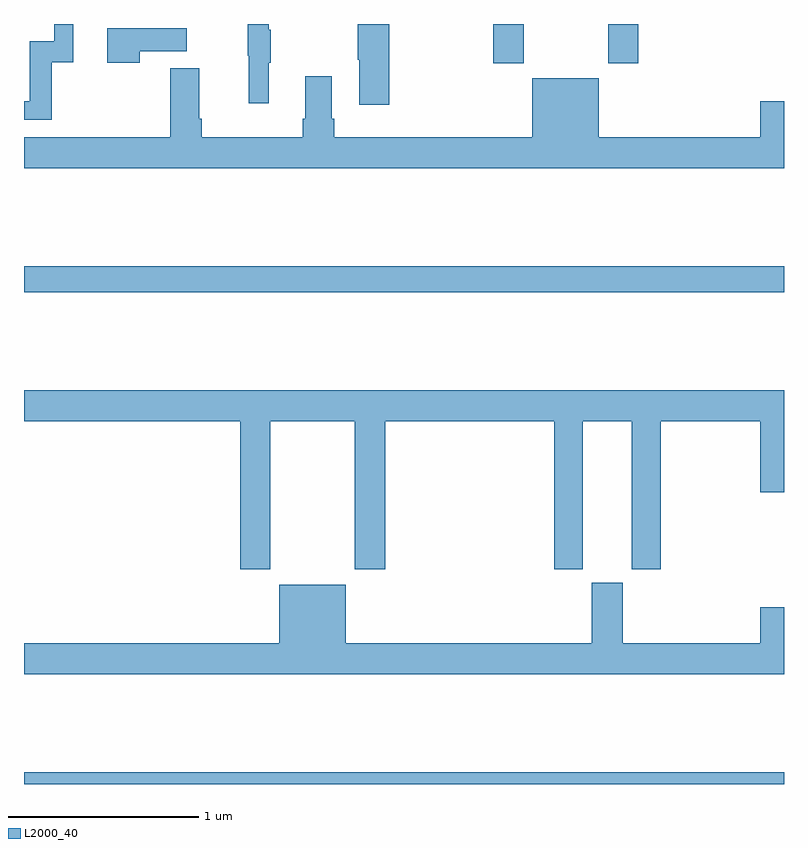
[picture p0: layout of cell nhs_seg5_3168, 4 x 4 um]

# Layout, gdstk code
import gdstk
lib = gdstk.Library(unit=1e-6, precision=1e-09)
def R(c, l, rs):  # rectangles x0, y0, x1, y1
    for r in rs: c.add(gdstk.rectangle(r[:2], r[2:], *l))
def P(c, l, *ps):  # polygons
    for p in ps: c.add(gdstk.Polygon(p, *l))
L2000_40 = (2000, 40)

nhs_seg5_3168 = lib.new_cell('nhs_seg5_3168')
R(nhs_seg5_3168, L2000_40, [(293,906.799,297,906.86), (293,909.388,297,909.524), (295.469,910.593,295.629,910.799), (296.074,910.593,296.234,910.799), (293,910.797,293.07,910.799)])
P(nhs_seg5_3168, L2000_40, [(294.287,910.595),(294.298,910.595),(294.298,910.769),(294.287,910.769),(294.287,910.799),(294.177,910.799),(294.177,910.632),(294.184,910.632),(294.184,910.383),(294.287,910.383)],
  [(294.923,910.799),(294.757,910.799),(294.757,910.612),(294.764,910.612),(294.764,910.374),(294.923,910.374)],
  [(293.147,910.599),(293.258,910.599),(293.258,910.799),(293.16,910.799),(293.16,910.707),(293.031,910.707),(293.031,910.392),(293,910.392),(293,910.296),(293.147,910.296)],
  [(293.609,910.655),(293.857,910.655),(293.857,910.777),(293.438,910.777),(293.438,910.596),(293.609,910.596)],
  [(297,910.393),(296.876,910.393),(296.876,910.204),(296.026,910.204),(296.026,910.513),(295.676,910.513),(295.676,910.204),(294.632,910.204),(294.632,910.3),(294.619,910.3),(294.619,910.525),(294.479,910.525),(294.479,910.3),(294.467,910.3),(294.467,910.204),(293.936,910.204),(293.936,910.3),(293.923,910.3),(293.923,910.567),(293.771,910.567),(293.771,910.204),(293,910.204),(293,910.04),(297,910.04)],
  [(294.297,908.708),(294.742,908.708),(294.742,907.929),(294.902,907.929),(294.902,908.708),(295.79,908.708),(295.79,907.929),(295.942,907.929),(295.942,908.708),(296.198,908.708),(296.198,907.929),(296.351,907.929),(296.351,908.708),(296.876,908.708),(296.876,908.334),(297,908.334),(297,908.872),(293,908.872),(293,908.708),(294.137,908.708),(294.137,907.929),(294.297,907.929)],
  [(297,907.729),(296.876,907.729),(296.876,907.54),(296.152,907.54),(296.152,907.857),(295.988,907.857),(295.988,907.54),(294.694,907.54),(294.694,907.849),(294.344,907.849),(294.344,907.54),(293,907.54),(293,907.376),(297,907.376)])

lib.write_gds('nhs_seg5_3168.gds')
